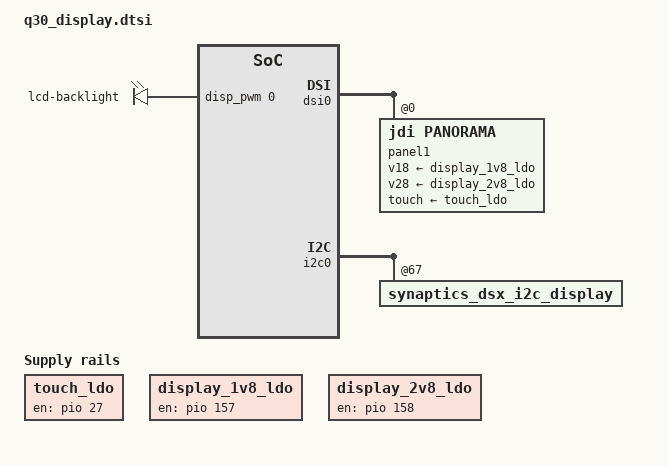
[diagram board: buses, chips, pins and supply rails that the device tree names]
#include "qx0_display.dtsi"

&odm {
	touch_ldo: fixed-regulator-1 {
		compatible = "regulator-fixed";
		regulator-name = "touch_ldo";
		gpio = <&pio 27 0>;
		enable-active-high;
		regulator-boot-on;
	};

	display_1v8_ldo: fixed-regulator-3 {
		compatible = "regulator-fixed";
		regulator-name = "display_1v8_ldo";
		gpio = <&pio 157 0>;
		enable-active-high;
		regulator-boot-on;
	};

	display_2v8_ldo: fixed-regulator-4 {
		compatible = "regulator-fixed";
		regulator-name = "display_2v8_ldo";
		gpio = <&pio 158 0>;
		enable-active-high;
		regulator-boot-on;
	};
};


&mtk_leds {
	compatible = "mediatek,pwm-leds";

	backlight {
		label = "lcd-backlight";
		max-brightness = <255>;
		max-hw-brightness = <1023>;
		led_mode = <5>;
		gate_enable = <0>;
		pwm_config = <0 1 0 0 0>;
		pwms = <&disp_pwm 0 39385>;
		pwm-names = "lcd-backlight";
	};
};

&dsi0 {
	panel1@0 {
		compatible = "jdi,panorama";
		v18-supply = <&display_1v8_ldo>;
		v28-supply = <&display_2v8_ldo>;
		touch-supply = <&touch_ldo>;
	};
};

&i2c0 {
	synaptics_dsx_i2c_display@67 {
		synaptics,reset-delay-ms = <60>;
		synaptics,reset-active-ms = <200>;
		synaptics,firmware = "passport_display.bin";
	};
};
